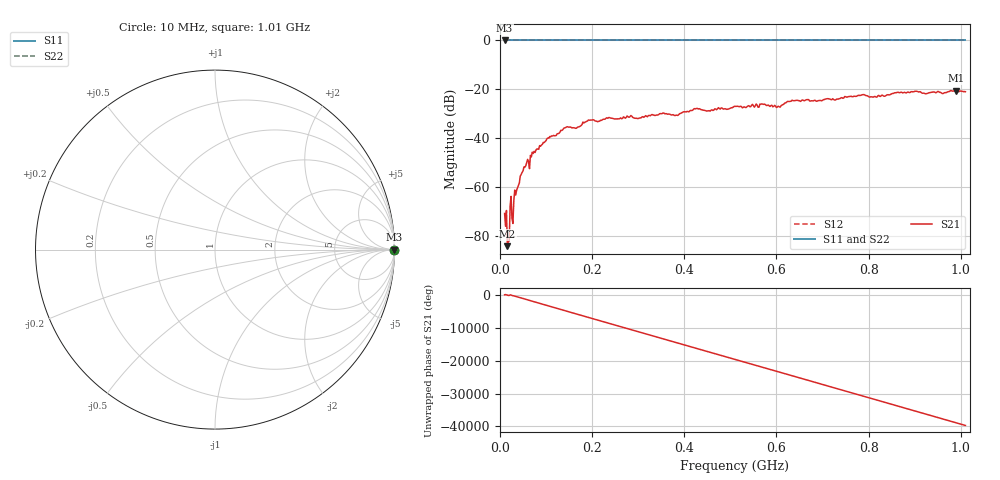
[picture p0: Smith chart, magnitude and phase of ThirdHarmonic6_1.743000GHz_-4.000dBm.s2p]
! 8/16/2025 9:00:41 PM
! C:\ANRITSUVNA\TEMP\TEMP.S2P
! CHANNEL.1
! TR.MEASUREMENT
! RAW.DATA
! RF.CORRECTION.OFF
! AVERAGING.OFF
! IF.BANDWIDTH: 5KHZ
! SWEEPTYPE:  FREQ.SWEEP(Linear)
! Reference Plane Port Info
! PORT:  PORT1  PORT2
! DISTANCE:  0  m  0  m
! TIME:  0  s  0  s
! PHASE.OFFSET:  0  deg.  0  deg.
! LOSS:  0  dB  0  dB
! REF.LOSS:  0  dB  0  dB
! REF.FREQ:  0  Hz  0  Hz
! Power Info
! POWER:  -20  dBm  -20  dBm
! EFF.POWER:  -20  dBm  -20  dBm
! SOURCE.ATTEN:  0  dB  0  dB
! TEST.ATTEN:  0  dB  0  dB
# GHZ S RI R 50.0
! FREQ.GHZ  S11RE  S11IM  S21RE  S21IM  S12RE  S12IM  S22RE  S22IM
!; PortSelection: Port_12
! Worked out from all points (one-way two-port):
!   501 points, 10 MHz to 1.01 GHz, reference 50 ohm
!   highest |S21| = -20.45 dB at 990 MHz (marker M1); lowest = -84.0 dB at 16 MHz (marker M2)
!   lowest |S11| = 0.0 dB at 10 MHz (marker M3)
!   |S11| at or under -10 dB: nowhere
!   |S22| runs from 0.0 to 0.0 dB; largest |S21 - S12| = 1.1
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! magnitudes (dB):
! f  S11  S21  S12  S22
! 10 MHz  0.0  -70.7  0.0  0.0
! 16 MHz  0.0  -84.0  0.0  0.0
! 24 MHz  0.0  -63.7  0.0  0.0
! 26 MHz  0.0  -72.7  0.0  0.0
! 30 MHz  0.0  -65.5  0.0  0.0
! 34 MHz  0.0  -63.1  0.0  0.0
! 48 MHz  0.0  -53.9  0.0  0.0
! 70 MHz  0.0  -45.7  0.0  0.0
! 106 MHz  0.0  -39.9  0.0  0.0
! 142 MHz  0.0  -35.6  0.0  0.0
! 178 MHz  0.0  -34.3  0.0  0.0
! 196 MHz  0.0  -32.5  0.0  0.0
! 344 MHz  0.0  -30.3  0.0  0.0
! 382 MHz  0.0  -30.5  0.0  0.0
! 424 MHz  0.0  -28.0  0.0  0.0
! 510 MHz  0.0  -26.9  0.0  0.0
! 604 MHz  0.0  -26.9  0.0  0.0
! 630 MHz  0.0  -24.9  0.0  0.0
! 678 MHz  0.0  -24.7  0.0  0.0
! 844 MHz  0.0  -22.2  0.0  0.0
! 990 MHz  0.0  -20.4  0.0  0.0
! 1.01 GHz  0.0  -20.9  0.0  0.0
